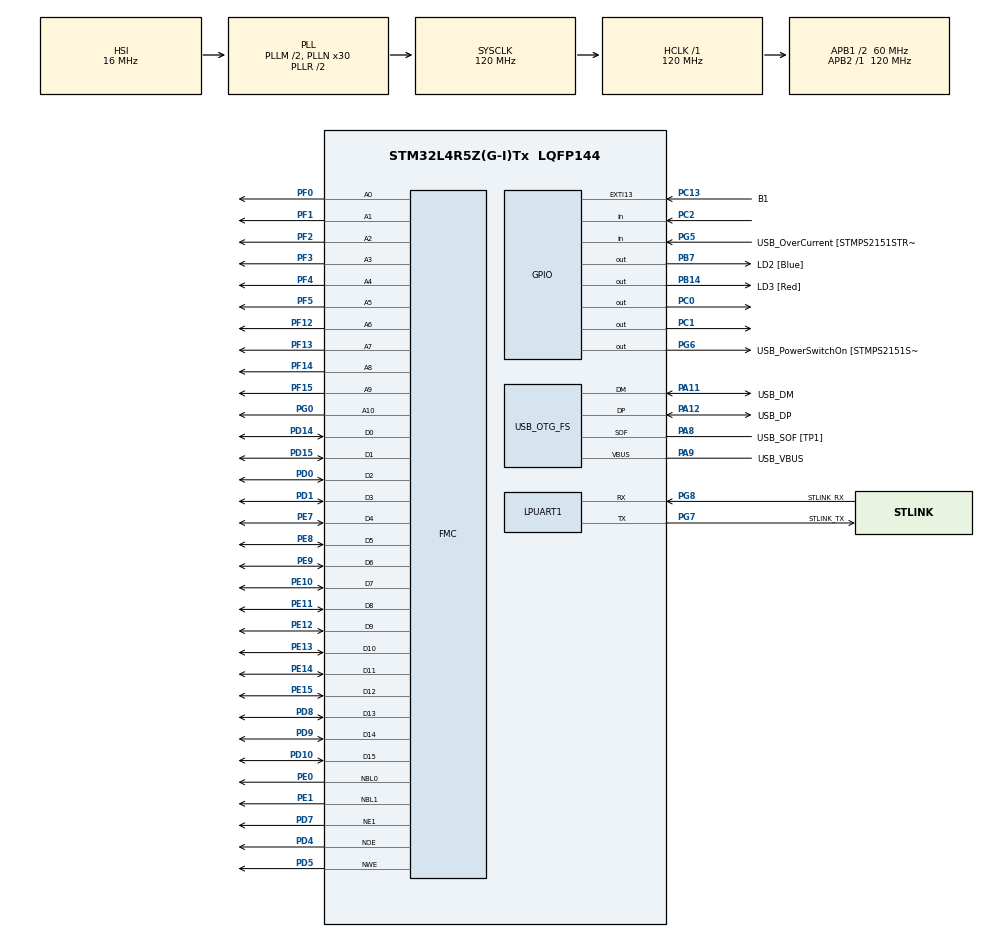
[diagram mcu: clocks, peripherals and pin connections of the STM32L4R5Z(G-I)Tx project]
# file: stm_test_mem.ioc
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FMC.ExtendedMode1=FMC_EXTENDED_MODE_DISABLE
FMC.WriteFifo1=FMC_WRITE_FIFO_DISABLE
FMC.WriteFifo2=FMC_WRITE_FIFO_DISABLE
FMC.WriteFifo3=FMC_WRITE_FIFO_DISABLE
FMC.WriteFifo4=FMC_WRITE_FIFO_DISABLE
FMC.WriteOperation1=FMC_WRITE_OPERATION_ENABLE
Mcu.Family=STM32L4
Mcu.Name=STM32L4R5Z(G-I)Tx
Mcu.Package=LQFP144
NVIC.PriorityGroup=NVIC_PRIORITYGROUP_4
PA10.GPIO_Label=USB_ID
PA10.Signal=USB_OTG_FS_ID
PA11.GPIO_Label=USB_DM
PA11.Mode=Device_Only
PA11.Signal=USB_OTG_FS_DM
PA12.GPIO_Label=USB_DP
PA12.Mode=Device_Only
PA12.Signal=USB_OTG_FS_DP
PA13\ (JTMS/SWDIO).GPIO_Label=TMS
PA13\ (JTMS/SWDIO).Mode=Trace_Asynchronous_SW
PA13\ (JTMS/SWDIO).Signal=SYS_JTMS-SWDIO
PA14\ (JTCK/SWCLK).GPIO_Label=TCK
PA14\ (JTCK/SWCLK).Mode=Trace_Asynchronous_SW
PA14\ (JTCK/SWCLK).Signal=SYS_JTCK-SWCLK
PA8.GPIO_Label=USB_SOF [TP1]
PA8.Mode=Activate_SOF_FS
PA8.Signal=USB_OTG_FS_SOF
PA9.GPIO_Label=USB_VBUS
PA9.Mode=Activate_VBUS
PA9.Signal=USB_OTG_FS_VBUS
PB14.GPIO_Label=LD3 [Red]
PB14.Signal=GPIO_Output
PB3\ (JTDO/TRACESWO).GPIO_Label=SWO
PB3\ (JTDO/TRACESWO).Mode=Trace_Asynchronous_SW
PB3\ (JTDO/TRACESWO).Signal=SYS_JTDO-SWO
PB7.GPIO_Label=LD2 [Blue]
PB7.Signal=GPIO_Output
PC0.Signal=GPIO_Output
PC1.Signal=GPIO_Output
PC13.GPIO_Label=B1
PC13.Signal=GPXTI13
PC14-OSC32_IN\ (PC14).Mode=LSE-External-Oscillator
PC14-OSC32_IN\ (PC14).Signal=RCC_OSC32_IN
PC15-OSC32_OUT\ (PC15).Mode=LSE-External-Oscillator
PC15-OSC32_OUT\ (PC15).Signal=RCC_OSC32_OUT
PC2.Signal=GPIO_Input
PD0.Signal=FMC_D2_DA2
PD1.Signal=FMC_D3_DA3
PD10.Signal=FMC_D15_DA15
PD14.Signal=FMC_D0_DA0
PD15.Signal=FMC_D1_DA1
PD4.Signal=FMC_NOE
PD5.Signal=FMC_NWE
PD7.Mode=NorPsramChipSelect1_1
PD7.Signal=FMC_NE1
PD8.Signal=FMC_D13_DA13
PD9.Signal=FMC_D14_DA14
PE0.Signal=FMC_NBL0
PE1.Signal=FMC_NBL1
PE10.Signal=FMC_D7_DA7
PE11.Signal=FMC_D8_DA8
PE12.Signal=FMC_D9_DA9
PE13.Signal=FMC_D10_DA10
PE14.Signal=FMC_D11_DA11
PE15.Signal=FMC_D12_DA12
PE7.Signal=FMC_D4_DA4
PE8.Signal=FMC_D5_DA5
PE9.Signal=FMC_D6_DA6
PF0.Signal=FMC_A0
PF1.Signal=FMC_A1
PF12.Signal=FMC_A6
PF13.Signal=FMC_A7
PF14.Signal=FMC_A8
PF15.Signal=FMC_A9
PF2.Signal=FMC_A2
PF3.Signal=FMC_A3
PF4.Signal=FMC_A4
PF5.Signal=FMC_A5
PG0.Signal=FMC_A10
PG5.GPIO_Label=USB_OverCurrent [STMPS2151STR_FAULT]
PG5.Signal=GPIO_Input
PG6.GPIO_Label=USB_PowerSwitchOn [STMPS2151STR_EN]
PG6.Signal=GPIO_Output
PG7.GPIO_Label=STLINK_TX
PG7.Mode=Asynchronous
PG7.Signal=LPUART1_TX
PG8.GPIO_Label=STLINK_RX
PG8.Mode=Asynchronous
PG8.Signal=LPUART1_RX
PH0-OSC_IN\ (PH0).Signal=RCC_OSC_IN
PH1-OSC_OUT\ (PH1).Signal=RCC_OSC_OUT
ProjectManager.HeapSize=0x200
ProjectManager.StackSize=0x400
ProjectManager.TargetToolchain=STM32CubeIDE
RCC.48MHZClocksFreq_Value=24000000
RCC.ADCFreq_Value=96000000
RCC.AHBFreq_Value=120000000
RCC.APB1CLKDivider=RCC_HCLK_DIV2
RCC.APB1Freq_Value=60000000
RCC.APB1TimFreq_Value=120000000
RCC.APB2Freq_Value=120000000
RCC.APB2TimFreq_Value=120000000
RCC.CK48CLockSelection=RCC_USBCLKSOURCE_HSI48
RCC.CortexFreq_Value=120000000
RCC.HCLKFreq_Value=120000000
RCC.HSE_VALUE=8000000
RCC.HSI48_VALUE=48000000
RCC.HSI_VALUE=16000000
RCC.MSI_VALUE=4000000
RCC.PLLM1=2
RCC.PLLMUL=RCC_PLL_MUL9
RCC.PLLN=30
RCC.PLLSAI1N=12
RCC.PLLSourceVirtual=RCC_PLLSOURCE_HSI
RCC.PRESCALERUSB=RCC_USBCLKSOURCE_PLL_DIV1_5
RCC.SYSCLKFreq_VALUE=120000000
RCC.SYSCLKSource=RCC_SYSCLKSOURCE_PLLCLK
RCC.SYSCLKSourceVirtual=RCC_SYSCLKSOURCE_PLLCLK
RCC.USBFreq_Value=48000000
RCC.VCOOutputFreq_Value=240000000
SH.FMC_A0.0=FMC_A0,11b-a1
SH.FMC_A1.0=FMC_A1,11b-a1
SH.FMC_A10.0=FMC_A10,11b-a1
SH.FMC_A2.0=FMC_A2,11b-a1
SH.FMC_A3.0=FMC_A3,11b-a1
SH.FMC_A4.0=FMC_A4,11b-a1
SH.FMC_A5.0=FMC_A5,11b-a1
SH.FMC_A6.0=FMC_A6,11b-a1
SH.FMC_A7.0=FMC_A7,11b-a1
SH.FMC_A8.0=FMC_A8,11b-a1
SH.FMC_A9.0=FMC_A9,11b-a1
SH.FMC_D0_DA0.0=FMC_D0,16b-d1
SH.FMC_D10_DA10.0=FMC_D10,16b-d1
SH.FMC_D11_DA11.0=FMC_D11,16b-d1
SH.FMC_D12_DA12.0=FMC_D12,16b-d1
SH.FMC_D13_DA13.0=FMC_D13,16b-d1
SH.FMC_D14_DA14.0=FMC_D14,16b-d1
SH.FMC_D15_DA15.0=FMC_D15,16b-d1
SH.FMC_D1_DA1.0=FMC_D1,16b-d1
SH.FMC_D2_DA2.0=FMC_D2,16b-d1
SH.FMC_D3_DA3.0=FMC_D3,16b-d1
SH.FMC_D4_DA4.0=FMC_D4,16b-d1
SH.FMC_D5_DA5.0=FMC_D5,16b-d1
SH.FMC_D6_DA6.0=FMC_D6,16b-d1
SH.FMC_D7_DA7.0=FMC_D7,16b-d1
SH.FMC_D8_DA8.0=FMC_D8,16b-d1
SH.FMC_D9_DA9.0=FMC_D9,16b-d1
SH.FMC_NBL0.0=FMC_NBL0,2ByteEnable1
SH.FMC_NBL1.0=FMC_NBL1,2ByteEnable1
SH.FMC_NOE.0=FMC_NOE,Sram1
SH.FMC_NWE.0=FMC_NWE,Sram1
USB_OTG_FS.VirtualMode=Device_Only
board=NUCLEO-L4R5ZI

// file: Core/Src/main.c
/* USER CODE BEGIN Header */
/**
  ******************************************************************************
  * @file           : main.c
  * @brief          : Main program body
  ******************************************************************************
  * @attention
  *
  * Copyright (c) 2024 STMicroelectronics.
  * All rights reserved.
  *
  * This software is licensed under terms that can be found in the LICENSE file
  * in the root directory of this software component.
  * If no LICENSE file comes with this software, it is provided AS-IS.
  *
  ******************************************************************************
  */
/* USER CODE END Header */
#include "main.h"

/* USER CODE BEGIN Includes */
#include <stdlib.h>
#include <stdint.h>
/* USER CODE END Includes */

UART_HandleTypeDef hlpuart1;

PCD_HandleTypeDef hpcd_USB_OTG_FS;

SRAM_HandleTypeDef hsram1;

void SystemClock_Config(void);
static void MX_GPIO_Init(void);
static void MX_LPUART1_UART_Init(void);
static void MX_USB_OTG_FS_PCD_Init(void);
static void MX_FMC_Init(void);

int main(void)
{
  /* USER CODE BEGIN 1 */
	volatile uint16_t * ptr = (uint16_t *)(0x60000000U);
	volatile uint16_t data_read;
	GPIO_PinState erro;
	int count = 0;
	int done = 0;
  /* USER CODE END 1 */

  /* MCU Configuration--------------------------------------------------------*/

  /* Reset of all peripherals, Initializes the Flash interface and the Systick. */
  HAL_Init();

  /* Configure the system clock */
  SystemClock_Config();

  /* Initialize all configured peripherals */
  MX_GPIO_Init();
  MX_LPUART1_UART_Init();
  MX_USB_OTG_FS_PCD_Init();
  MX_FMC_Init();
  /* USER CODE BEGIN 2 */
  void bypass()
  {
	  HAL_GPIO_WritePin(GPIOC,GPIO_PIN_0,GPIO_PIN_RESET);
	  HAL_GPIO_WritePin(GPIOC,GPIO_PIN_1,GPIO_PIN_RESET);
  }

  void Hamming()
    {

  	  HAL_GPIO_WritePin(GPIOC,GPIO_PIN_0,GPIO_PIN_SET);
  	  HAL_GPIO_WritePin(GPIOC,GPIO_PIN_1,GPIO_PIN_RESET);
    }
  void TBEC()
      {
    	  HAL_GPIO_WritePin(GPIOC,GPIO_PIN_0,GPIO_PIN_RESET);
    	  HAL_GPIO_WritePin(GPIOC,GPIO_PIN_1,GPIO_PIN_SET);
      }
  void EDAC()
        {
      	  HAL_GPIO_WritePin(GPIOC,GPIO_PIN_0,GPIO_PIN_SET);
      	  HAL_GPIO_WritePin(GPIOC,GPIO_PIN_1,GPIO_PIN_SET);
        }

  int burstErrorRSC(uint16_t * ptr ,int erros)
  {

      int count = 0;
      int posicao;
      uint8_t num[1000];
      int bin = 0b1;
      bin = (bin<<erros)-1;

      for(int i=0;i<1000;i++)
      {
         num[i] = rand() % (1<<8);//choose random number to codify
         TBEC();
         *(ptr+ i) = num[i];
         bypass();
         posicao = rand() % (16-erros+1); // choose random position for the error in word
         *(ptr+i) = *(ptr+i)^(bin<<posicao); // apply the error in word
      }

      TBEC();

      for(int i=0;i<1000;i++)
      {
    	  if(*(ptr+i) == num[i]) // test if the word is correct and count success
		  {
			  count++;
		  }
      }
      return count;
  }

  int burstErrorHamming(uint16_t * ptr ,int erros)
    {

        int count = 0;
        int posicao;
        uint8_t num[1000];
        int bin = 0b1;
        bin = (bin<<erros)-1;

        for(int i=0;i<1000;i++)
        {
           num[i] = rand() % (1<<8);//choose random number to codify
           Hamming();
           *(ptr+ i) = num[i];
           bypass();
           posicao = rand() % (12-erros+1); // choose random position for the error in word
           *(ptr+i) = *(ptr+i)^(bin<<posicao); // apply the error in word
        }

        Hamming();

        for(int i=0;i<1000;i++)
        {
      	  if(*(ptr+i) == num[i]) // test if the word is correct and count success
  		  {
  			  count++;
  		  }
        }
        return count;
    }

  int burstErrorEDAC(uint16_t * ptr ,int erros)
      {

          int count = 0;
          int posicao;
          uint8_t num[1000];
          int bin = 0b1;
          bin = (bin<<erros)-1;

          for(int i=0;i<1000;i++)
          {
             num[i] = rand() % (1<<8);//choose random number to codify
             EDAC();
             *(ptr+ i) = num[i];
             bypass();
             posicao = rand() % (12-erros+1); // choose random position for the error in word
             *(ptr+i) = *(ptr+i)^(bin<<posicao); // apply the error in word
          }

          EDAC();

          for(int i=0;i<1000;i++)
          {
        	  if(*(ptr+i) == num[i]) // test if the word is correct and count success
    		  {
    			  count++;
    		  }
          }
          return count;
      }

  /* USER CODE END 2 */

  /* Infinite loop */
  while (1)
  {
	  count =  burstErrorRSC(ptr ,1);
	  count =  burstErrorHamming(ptr ,1);
	  done = 1;

/*
	  Hamming();
	  *ptr = 0xff;
	  bypass();
	  data_read = *ptr;

	  *ptr = data_read^0b1;
	  data_read = *ptr;
	  Hamming();
	  data_read = *ptr;
*/

  }
}

void SystemClock_Config(void)
{
  RCC_OscInitTypeDef RCC_OscInitStruct = {0};
  RCC_ClkInitTypeDef RCC_ClkInitStruct = {0};

  /** Configure the main internal regulator output voltage
  */
  if (HAL_PWREx_ControlVoltageScaling(PWR_REGULATOR_VOLTAGE_SCALE1_BOOST) != HAL_OK)
  {
    Error_Handler();
  }

  /** Initializes the RCC Oscillators according to the specified parameters
  * in the RCC_OscInitTypeDef structure.
  */
  RCC_OscInitStruct.OscillatorType = RCC_OSCILLATORTYPE_HSI48|RCC_OSCILLATORTYPE_HSI;
  RCC_OscInitStruct.HSIState = RCC_HSI_ON;
  RCC_OscInitStruct.HSI48State = RCC_HSI48_ON;
  RCC_OscInitStruct.HSICalibrationValue = RCC_HSICALIBRATION_DEFAULT;
  RCC_OscInitStruct.PLL.PLLState = RCC_PLL_ON;
  RCC_OscInitStruct.PLL.PLLSource = RCC_PLLSOURCE_HSI;
  RCC_OscInitStruct.PLL.PLLM = 2;
  RCC_OscInitStruct.PLL.PLLN = 30;
  RCC_OscInitStruct.PLL.PLLP = RCC_PLLP_DIV2;
  RCC_OscInitStruct.PLL.PLLQ = RCC_PLLQ_DIV2;
  RCC_OscInitStruct.PLL.PLLR = RCC_PLLR_DIV2;
  if (HAL_RCC_OscConfig(&RCC_OscInitStruct) != HAL_OK)
  {
    Error_Handler();
  }

  /** Initializes the CPU, AHB and APB buses clocks
  */
  RCC_ClkInitStruct.ClockType = RCC_CLOCKTYPE_HCLK|RCC_CLOCKTYPE_SYSCLK
                              |RCC_CLOCKTYPE_PCLK1|RCC_CLOCKTYPE_PCLK2;
  RCC_ClkInitStruct.SYSCLKSource = RCC_SYSCLKSOURCE_PLLCLK;
  RCC_ClkInitStruct.AHBCLKDivider = RCC_SYSCLK_DIV1;
  RCC_ClkInitStruct.APB1CLKDivider = RCC_HCLK_DIV2;
  RCC_ClkInitStruct.APB2CLKDivider = RCC_HCLK_DIV1;

  if (HAL_RCC_ClockConfig(&RCC_ClkInitStruct, FLASH_LATENCY_5) != HAL_OK)
  {
    Error_Handler();
  }
}

static void MX_LPUART1_UART_Init(void)
{

  hlpuart1.Instance = LPUART1;
  hlpuart1.Init.BaudRate = 209700;
  hlpuart1.Init.WordLength = UART_WORDLENGTH_7B;
  hlpuart1.Init.StopBits = UART_STOPBITS_1;
  hlpuart1.Init.Parity = UART_PARITY_NONE;
  hlpuart1.Init.Mode = UART_MODE_TX_RX;
  hlpuart1.Init.HwFlowCtl = UART_HWCONTROL_NONE;
  hlpuart1.Init.OneBitSampling = UART_ONE_BIT_SAMPLE_DISABLE;
  hlpuart1.Init.ClockPrescaler = UART_PRESCALER_DIV1;
  hlpuart1.AdvancedInit.AdvFeatureInit = UART_ADVFEATURE_NO_INIT;
  hlpuart1.FifoMode = UART_FIFOMODE_DISABLE;
  if (HAL_UART_Init(&hlpuart1) != HAL_OK)
  {
    Error_Handler();
  }
  if (HAL_UARTEx_SetTxFifoThreshold(&hlpuart1, UART_TXFIFO_THRESHOLD_1_8) != HAL_OK)
  {
    Error_Handler();
  }
  if (HAL_UARTEx_SetRxFifoThreshold(&hlpuart1, UART_RXFIFO_THRESHOLD_1_8) != HAL_OK)
  {
    Error_Handler();
  }
  if (HAL_UARTEx_DisableFifoMode(&hlpuart1) != HAL_OK)
  {
    Error_Handler();
  }

}

static void MX_USB_OTG_FS_PCD_Init(void)
{

  hpcd_USB_OTG_FS.Instance = USB_OTG_FS;
  hpcd_USB_OTG_FS.Init.dev_endpoints = 6;
  hpcd_USB_OTG_FS.Init.speed = PCD_SPEED_FULL;
  hpcd_USB_OTG_FS.Init.phy_itface = PCD_PHY_EMBEDDED;
  hpcd_USB_OTG_FS.Init.Sof_enable = ENABLE;
  hpcd_USB_OTG_FS.Init.low_power_enable = DISABLE;
  hpcd_USB_OTG_FS.Init.lpm_enable = DISABLE;
  hpcd_USB_OTG_FS.Init.battery_charging_enable = ENABLE;
  hpcd_USB_OTG_FS.Init.use_dedicated_ep1 = DISABLE;
  hpcd_USB_OTG_FS.Init.vbus_sensing_enable = ENABLE;
  if (HAL_PCD_Init(&hpcd_USB_OTG_FS) != HAL_OK)
  {
    Error_Handler();
  }

}

/* FMC initialization function */
static void MX_FMC_Init(void)
{

  FMC_NORSRAM_TimingTypeDef Timing = {0};

  /** Perform the SRAM1 memory initialization sequence
  */
  hsram1.Instance = FMC_NORSRAM_DEVICE;
  hsram1.Extended = FMC_NORSRAM_EXTENDED_DEVICE;
  /* hsram1.Init */
  hsram1.Init.NSBank = FMC_NORSRAM_BANK1;
  hsram1.Init.DataAddressMux = FMC_DATA_ADDRESS_MUX_DISABLE;
  hsram1.Init.MemoryType = FMC_MEMORY_TYPE_SRAM;
  hsram1.Init.MemoryDataWidth = FMC_NORSRAM_MEM_BUS_WIDTH_16;
  hsram1.Init.BurstAccessMode = FMC_BURST_ACCESS_MODE_DISABLE;
  hsram1.Init.WaitSignalPolarity = FMC_WAIT_SIGNAL_POLARITY_LOW;
  hsram1.Init.WaitSignalActive = FMC_WAIT_TIMING_BEFORE_WS;
  hsram1.Init.WriteOperation = FMC_WRITE_OPERATION_ENABLE;
  hsram1.Init.WaitSignal = FMC_WAIT_SIGNAL_DISABLE;
  hsram1.Init.ExtendedMode = FMC_EXTENDED_MODE_DISABLE;
  hsram1.Init.AsynchronousWait = FMC_ASYNCHRONOUS_WAIT_DISABLE;
  hsram1.Init.WriteBurst = FMC_WRITE_BURST_DISABLE;
  hsram1.Init.ContinuousClock = FMC_CONTINUOUS_CLOCK_SYNC_ONLY;
  hsram1.Init.WriteFifo = FMC_WRITE_FIFO_DISABLE;
  hsram1.Init.NBLSetupTime = 0;
  hsram1.Init.PageSize = FMC_PAGE_SIZE_NONE;
  /* Timing */
  Timing.AddressSetupTime = 15;
  Timing.AddressHoldTime = 15;
  Timing.DataSetupTime = 255;
  Timing.DataHoldTime = 0;
  Timing.BusTurnAroundDuration = 15;
  Timing.CLKDivision = 16;
  Timing.DataLatency = 17;
  Timing.AccessMode = FMC_ACCESS_MODE_A;
  /* ExtTiming */

  if (HAL_SRAM_Init(&hsram1, &Timing, NULL) != HAL_OK)
  {
    Error_Handler( );
  }

}

static void MX_GPIO_Init(void)
{
  GPIO_InitTypeDef GPIO_InitStruct = {0};

  /* GPIO Ports Clock Enable */
  __HAL_RCC_GPIOC_CLK_ENABLE();
  __HAL_RCC_GPIOF_CLK_ENABLE();
  __HAL_RCC_GPIOH_CLK_ENABLE();
  __HAL_RCC_GPIOG_CLK_ENABLE();
  __HAL_RCC_GPIOE_CLK_ENABLE();
  __HAL_RCC_GPIOB_CLK_ENABLE();
  __HAL_RCC_GPIOD_CLK_ENABLE();
  HAL_PWREx_EnableVddIO2();
  __HAL_RCC_GPIOA_CLK_ENABLE();

  /*Configure GPIO pin Output Level */
  HAL_GPIO_WritePin(GPIOC, GPIO_PIN_0|GPIO_PIN_1, GPIO_PIN_RESET);

  /*Configure GPIO pin Output Level */
  HAL_GPIO_WritePin(GPIOB, LD3_Pin|LD2_Pin, GPIO_PIN_RESET);

  /*Configure GPIO pin Output Level */
  HAL_GPIO_WritePin(USB_PowerSwitchOn_GPIO_Port, USB_PowerSwitchOn_Pin, GPIO_PIN_RESET);

  /*Configure GPIO pin : B1_Pin */
  GPIO_InitStruct.Pin = B1_Pin;
  GPIO_InitStruct.Mode = GPIO_MODE_IT_RISING;
  GPIO_InitStruct.Pull = GPIO_NOPULL;
  HAL_GPIO_Init(B1_GPIO_Port, &GPIO_InitStruct);

  /*Configure GPIO pins : PC0 PC1 */
  GPIO_InitStruct.Pin = GPIO_PIN_0|GPIO_PIN_1;
  GPIO_InitStruct.Mode = GPIO_MODE_OUTPUT_PP;
  GPIO_InitStruct.Pull = GPIO_NOPULL;
  GPIO_InitStruct.Speed = GPIO_SPEED_FREQ_LOW;
  HAL_GPIO_Init(GPIOC, &GPIO_InitStruct);

  /*Configure GPIO pin : PC2 */
  GPIO_InitStruct.Pin = GPIO_PIN_2;
  GPIO_InitStruct.Mode = GPIO_MODE_INPUT;
  GPIO_InitStruct.Pull = GPIO_NOPULL;
  HAL_GPIO_Init(GPIOC, &GPIO_InitStruct);

  /*Configure GPIO pins : LD3_Pin LD2_Pin */
  GPIO_InitStruct.Pin = LD3_Pin|LD2_Pin;
  GPIO_InitStruct.Mode = GPIO_MODE_OUTPUT_PP;
  GPIO_InitStruct.Pull = GPIO_NOPULL;
  GPIO_InitStruct.Speed = GPIO_SPEED_FREQ_LOW;
  HAL_GPIO_Init(GPIOB, &GPIO_InitStruct);

  /*Configure GPIO pin : USB_OverCurrent_Pin */
  GPIO_InitStruct.Pin = USB_OverCurrent_Pin;
  GPIO_InitStruct.Mode = GPIO_MODE_INPUT;
  GPIO_InitStruct.Pull = GPIO_NOPULL;
  HAL_GPIO_Init(USB_OverCurrent_GPIO_Port, &GPIO_InitStruct);

  /*Configure GPIO pin : USB_PowerSwitchOn_Pin */
  GPIO_InitStruct.Pin = USB_PowerSwitchOn_Pin;
  GPIO_InitStruct.Mode = GPIO_MODE_OUTPUT_PP;
  GPIO_InitStruct.Pull = GPIO_NOPULL;
  GPIO_InitStruct.Speed = GPIO_SPEED_FREQ_LOW;
  HAL_GPIO_Init(USB_PowerSwitchOn_GPIO_Port, &GPIO_InitStruct);

}

void Error_Handler(void)
{
  __disable_irq();
  while (1)
  {
  }
}
